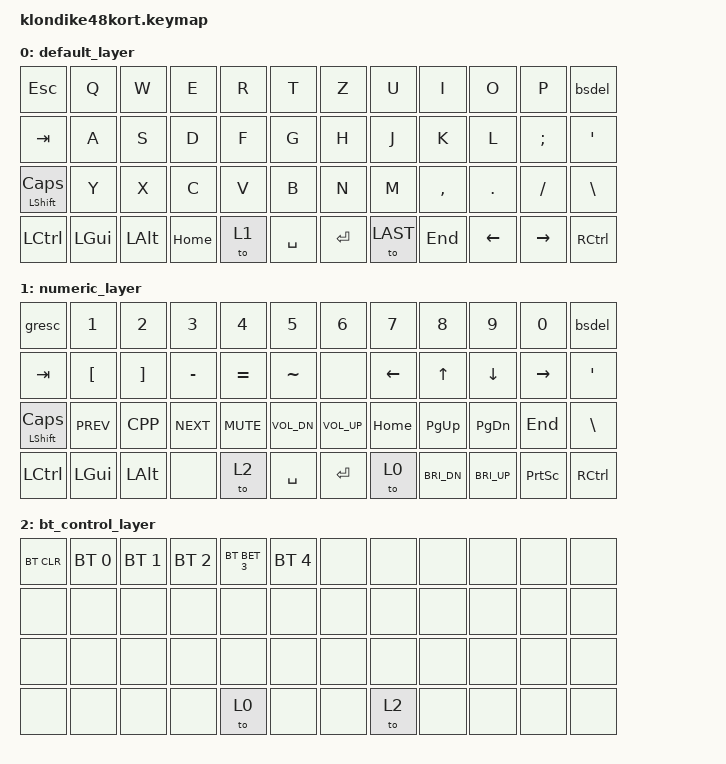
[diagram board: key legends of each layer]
#include <behaviors.dtsi>
#include <dt-bindings/zmk/keys.h>
#include <dt-bindings/zmk/bt.h>

#define DFTL 0
#define NUML 1
#define BTCL 2
#define LAST 2

/ {
    behaviors {
        bsdel: backspace_delete {
            compatible = "zmk,behavior-mod-morph";
            #binding-cells = <0>;
            bindings = <&kp BSPC>, <&kp DEL>;
            mods = <(MOD_LGUI|MOD_LSFT|MOD_RGUI|MOD_RSFT)>;
        };
    };
    keymap {
        compatible = "zmk,keymap";

        default_layer { // Layer 0
            bindings = <
    &kp ESC        &kp Q    &kp W    &kp E    &kp R    &kp T     &kp Z     &kp U    &kp I     &kp O    &kp P     &bsdel
    &kp TAB        &kp A    &kp S    &kp D    &kp F    &kp G     &kp H     &kp J    &kp K     &kp L    &kp SEMI  &kp SQT
    &mt LSHFT CAPS &kp Y    &kp X    &kp C    &kp V    &kp B     &kp N     &kp M    &kp COMMA &kp DOT  &kp FSLH  &kp BSLH
    &kp LCTRL      &kp LGUI &kp LALT &kp HOME &to 1    &kp SPACE &kp ENTER &to LAST &kp END   &kp LEFT &kp RIGHT &kp RCTRL >;
        };
        numeric_layer { // Layer 1
            bindings = <
    &gresc         &kp N1     &kp N2   &kp N3     &kp N4     &kp N5       &kp N6       &kp N7   &kp N8       &kp N9       &kp N0    &bsdel
    &kp TAB        &kp LBKT   &kp RBKT &kp MINUS  &kp EQUAL  &kp TILDE    &none        &kp LEFT &kp UP       &kp DOWN     &kp RIGHT &kp SQT
    &mt LSHFT CAPS &kp C_PREV &kp CPP  &kp C_NEXT &kp C_MUTE &kp C_VOL_DN &kp C_VOL_UP &kp HOME &kp PG_UP    &kp PG_DN    &kp END   &kp BSLH
    &kp LCTRL      &kp LGUI   &kp LALT &none      &to 2      &kp SPACE    &kp ENTER    &to 0    &kp C_BRI_DN &kp C_BRI_UP &kp PSCRN &kp RCTRL>;
        };
        bt_control_layer { // Layer 2
        bindings = <
    &bt BT_CLR &bt BT_SEL 0 &bt BT_SEL 1 &bt BT_SEL 2 &bt BET_SEL 3 &bt BT_SEL 4 &none &none &none &none &none &none
    &none      &none        &none        &none        &none         &none        &none &none &none &none &none &none
    &none      &none        &none        &none        &none         &none        &none &none &none &none &none &none
    &none      &none        &none        &none        &to 0         &none        &none &to 2 &none &none &none &none >;
        };
    };
 };
